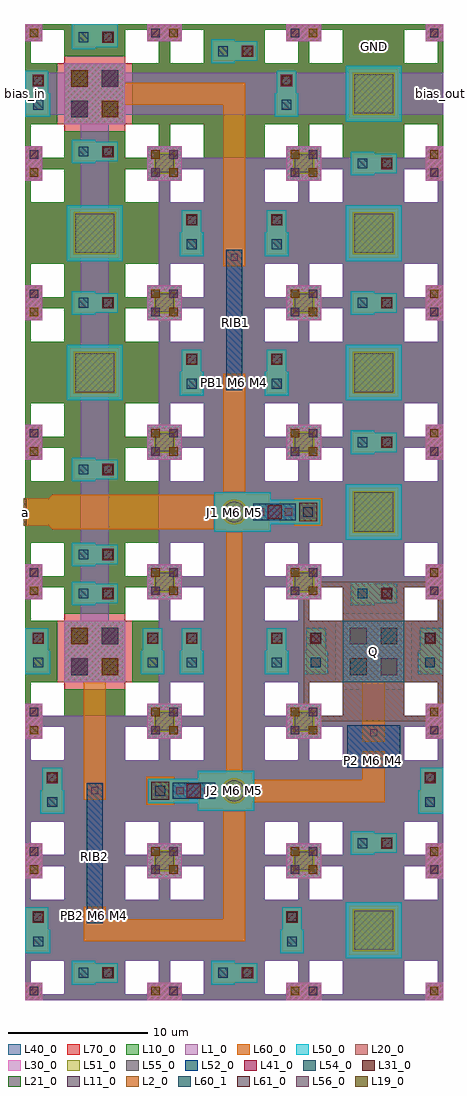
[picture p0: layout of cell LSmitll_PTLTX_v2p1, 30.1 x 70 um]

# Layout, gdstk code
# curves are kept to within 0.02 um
from math import pi, radians
import gdstk
lib = gdstk.Library(unit=1e-6, precision=1e-09)
def R(c, l, rs):  # rectangles x0, y0, x1, y1
    for r in rs: c.add(gdstk.rectangle(r[:2], r[2:], *l))
def P(c, l, *ps):  # polygons
    for p in ps: c.add(gdstk.Polygon(p, *l))
L1_0 = (1, 0)
L2_0 = (2, 0)
L10_0 = (10, 0)
L11_0 = (11, 0)
L19_0 = (19, 0)
L20_0 = (20, 0)
L21_0 = (21, 0)
L30_0 = (30, 0)
L31_0 = (31, 0)
L40_0 = (40, 0)
L41_0 = (41, 0)
L50_0 = (50, 0)
L51_0 = (51, 0)
L52_0 = (52, 0)
L54_0 = (54, 0)
L55_0 = (55, 0)
L56_0 = (56, 0)
L60_0 = (60, 0)
L60_1 = (60, 1)
L61_0 = (61, 0)
L70_0 = (70, 0)

ls_conn_m4m5m6m7 = lib.new_cell('ls_conn_M4M5M6M7')
R(ls_conn_m4m5m6m7, L40_0, [(0,0,1.4,1.4)])
R(ls_conn_m4m5m6m7, L41_0, [(0.3,0.3,1.1,1.1)])
P(ls_conn_m4m5m6m7, L50_0, [(1.6,-0.15),(1.6,0),(0,0),(0,1.4),(1.6,1.4),(1.6,1.55),(3.3,1.55),(3.3,-0.15)])
R(ls_conn_m4m5m6m7, L54_0, [(2.1,0.35,2.8,1.05)])
R(ls_conn_m4m5m6m7, L60_0, [(0,0,3.15,1.4)])
R(ls_conn_m4m5m6m7, L61_0, [(0.35,0.35,1.05,1.05)])
R(ls_conn_m4m5m6m7, L70_0, [(0,0,1.4,1.4)])

ls_fakejj_1p5x1p5um = lib.new_cell('ls_FakeJJ_1p5x1p5um')
R(ls_fakejj_1p5x1p5um, L40_0, [(-1.25,-1.25,1.25,1.25)])
R(ls_fakejj_1p5x1p5um, L50_0, [(-1.25,-1.25,1.25,1.25)])
R(ls_fakejj_1p5x1p5um, L51_0, [(-0.75,-0.75,0.75,0.75)])
R(ls_fakejj_1p5x1p5um, L55_0, [(-0.65,-0.65,0.65,0.65)])
R(ls_fakejj_1p5x1p5um, L60_0, [(-1,-1,1,1)])

ls_tr_ptlconnection = lib.new_cell('ls_tr_PTLconnection')
P(ls_tr_ptlconnection, L1_0, [(0,0),(0,10),(1.25,10),(1.25,8.75),(0.4,8.75),(0.4,1.25),(1.25,1.25),(1.25,0.4),(2.8,0.4),(2.8,2.8),(0.4,2.8),(0.4,7.2),(2.8,7.2),(2.8,9.6),(1.25,9.6),(1.25,10),(7.2,10),(7.2,0.4),(8.75,0.4),(8.75,1.25),(9.6,1.25),(9.6,2.8),(7.2,2.8),(7.2,7.2),(9.6,7.2),(9.6,8.75),(8.75,8.75),(8.75,9.6),(7.2,9.6),(7.2,10),(10,10),(10,0)])
R(ls_tr_ptlconnection, L2_0, [(9.05,0.35,9.65,0.95), (0.35,9.05,0.95,9.65)])
R(ls_tr_ptlconnection, L10_0, [(0,0,1.25,1.25), (8.75,0,10,1.25), (0,8.75,1.25,10), (8.75,8.75,10,10)])
P(ls_tr_ptlconnection, L10_0, [(0,0),(0,10),(1.25,10),(1.25,8.75),(0.4,8.75),(0.4,1.25),(1.25,1.25),(1.25,0.4),(2.8,0.4),(2.8,2.8),(0.4,2.8),(0.4,7.2),(2.8,7.2),(2.8,9.6),(1.25,9.6),(1.25,10),(7.2,10),(7.2,0.4),(8.75,0.4),(8.75,1.25),(9.6,1.25),(9.6,2.8),(7.2,2.8),(7.2,7.2),(9.6,7.2),(9.6,8.75),(8.75,8.75),(8.75,9.6),(7.2,9.6),(7.2,10),(10,10),(10,0)])
R(ls_tr_ptlconnection, L11_0, [(0.35,0.35,0.95,0.95), (9.05,9.05,9.65,9.65)])
P(ls_tr_ptlconnection, L20_0, [(0,0),(0,10),(1.25,10),(1.25,8.75),(0.4,8.75),(0.4,1.25),(1.25,1.25),(1.25,0.4),(2.8,0.4),(2.8,2.8),(0.4,2.8),(0.4,7.2),(2.8,7.2),(2.8,9.6),(1.25,9.6),(1.25,10),(7.2,10),(7.2,0.4),(8.75,0.4),(8.75,1.25),(9.6,1.25),(9.6,2.8),(7.2,2.8),(7.2,7.2),(9.6,7.2),(9.6,8.75),(8.75,8.75),(8.75,9.6),(7.2,9.6),(7.2,10),(10,10),(10,0)])
R(ls_tr_ptlconnection, L21_0, [(9.05,0.35,9.65,0.95), (0.35,9.05,0.95,9.65)])
R(ls_tr_ptlconnection, L30_0, [(0,0,1.25,1.25), (8.75,0,10,1.25), (2.8,2.8,7.2,7.2), (0,8.75,1.25,10), (8.75,8.75,10,10)])
R(ls_tr_ptlconnection, L31_0, [(0.35,0.35,0.95,0.95), (3.3,3.3,4.5,4.5), (5.5,5.5,6.7,6.7), (9.05,9.05,9.65,9.65)])
R(ls_tr_ptlconnection, L40_0, [(2.8,2.8,7.2,7.2)])
P(ls_tr_ptlconnection, L40_0, [(0,0),(0,10),(7.2,10),(7.2,7.7),(2.8,7.7),(2.8,9.6),(1.25,9.6),(1.25,8.75),(0.4,8.75),(0.4,7.2),(2.3,7.2),(2.3,2.8),(0.4,2.8),(0.4,1.25),(1.25,1.25),(1.25,0.4),(2.8,0.4),(2.8,2.3),(7.2,2.3),(7.2,0.4),(8.75,0.4),(8.75,1.25),(9.6,1.25),(9.6,2.8),(7.7,2.8),(7.7,7.2),(9.6,7.2),(9.6,8.75),(8.75,8.75),(8.75,9.6),(7.2,9.6),(7.2,10),(10,10),(10,0)])
R(ls_tr_ptlconnection, L41_0, [(5.5,3.3,6.7,4.5), (3.3,5.5,4.5,6.7)])
R(ls_tr_ptlconnection, L50_0, [(2.8,2.8,7.2,7.2)])
R(ls_tr_ptlconnection, L54_0, [(3.3,3.3,4.5,4.5), (5.5,5.5,6.7,6.7)])
R(ls_tr_ptlconnection, L60_0, [(2.8,2.8,7.2,7.2)])
P(ls_tr_ptlconnection, L70_0, [(0,0),(0,10),(1.25,10),(1.25,8.75),(0.4,8.75),(0.4,1.25),(1.25,1.25),(1.25,0.4),(2.8,0.4),(2.8,2.8),(0.4,2.8),(0.4,7.2),(2.8,7.2),(2.8,9.6),(1.25,9.6),(1.25,10),(7.2,10),(7.2,0.4),(8.75,0.4),(8.75,1.25),(9.6,1.25),(9.6,2.8),(7.2,2.8),(7.2,7.2),(9.6,7.2),(9.6,8.75),(8.75,8.75),(8.75,9.6),(7.2,9.6),(7.2,10),(10,10),(10,0)])

ls_res_1p36 = lib.new_cell('ls_res_1p36')
R(ls_res_1p36, L52_0, [(-1.9,0,1.9,3.05)])
R(ls_res_1p36, L56_0, [(-0.26,0.29,0.26,0.81), (-0.26,2.25,0.26,2.77)])
R(ls_res_1p36, L60_0, [(-0.625,-0.1,0.625,1.175), (-0.625,1.875,0.625,3.15)])

ls_tr_bias_pillar_m0m6 = lib.new_cell('ls_tr_bias_pillar_M0M6')
R(ls_tr_bias_pillar_m0m6, L1_0, [(0,0,1.25,1.25), (8.75,0,10,1.25), (2.8,2.8,7.2,7.2), (0,8.75,1.25,10), (8.75,8.75,10,10)])
R(ls_tr_bias_pillar_m0m6, L2_0, [(9.05,0.35,9.65,0.95), (5.5,3.3,6.7,4.5), (3.3,5.5,4.5,6.7), (0.35,9.05,0.95,9.65)])
R(ls_tr_bias_pillar_m0m6, L10_0, [(0,0,1.25,1.25), (8.75,0,10,1.25), (2.8,2.8,7.2,7.2), (0,8.75,1.25,10), (8.75,8.75,10,10)])
P(ls_tr_bias_pillar_m0m6, L10_0, [(0,0),(0,10),(7.2,10),(7.2,7.7),(2.8,7.7),(2.8,9.6),(1.25,9.6),(1.25,8.75),(0.4,8.75),(0.4,7.2),(2.3,7.2),(2.3,2.8),(0.4,2.8),(0.4,1.25),(1.25,1.25),(1.25,0.4),(2.8,0.4),(2.8,2.3),(7.2,2.3),(7.2,0.4),(8.75,0.4),(8.75,1.25),(9.6,1.25),(9.6,2.8),(7.7,2.8),(7.7,7.2),(9.6,7.2),(9.6,8.75),(8.75,8.75),(8.75,9.6),(7.2,9.6),(7.2,10),(10,10),(10,0)])
R(ls_tr_bias_pillar_m0m6, L11_0, [(0.35,0.35,0.95,0.95), (3.3,3.3,4.5,4.5), (5.5,5.5,6.7,6.7), (9.05,9.05,9.65,9.65)])
R(ls_tr_bias_pillar_m0m6, L20_0, [(0,0,1.25,1.25), (8.75,0,10,1.25), (2.8,2.8,7.2,7.2), (0,8.75,1.25,10), (8.75,8.75,10,10)])
R(ls_tr_bias_pillar_m0m6, L21_0, [(9.05,0.35,9.65,0.95), (5.5,3.3,6.7,4.5), (3.3,5.5,4.5,6.7), (0.35,9.05,0.95,9.65)])
R(ls_tr_bias_pillar_m0m6, L30_0, [(0,0,1.25,1.25), (8.75,0,10,1.25), (2.8,2.8,7.2,7.2), (0,8.75,1.25,10), (8.75,8.75,10,10)])
R(ls_tr_bias_pillar_m0m6, L31_0, [(0.35,0.35,0.95,0.95), (3.3,3.3,4.5,4.5), (5.5,5.5,6.7,6.7), (9.05,9.05,9.65,9.65)])
R(ls_tr_bias_pillar_m0m6, L40_0, [(2.8,2.8,7.2,7.2)])
P(ls_tr_bias_pillar_m0m6, L40_0, [(0,0),(0,10),(7.2,10),(7.2,7.7),(2.8,7.7),(2.8,9.6),(1.25,9.6),(1.25,8.75),(0.4,8.75),(0.4,7.2),(2.3,7.2),(2.3,2.8),(0.4,2.8),(0.4,1.25),(1.25,1.25),(1.25,0.4),(2.8,0.4),(2.8,2.3),(7.2,2.3),(7.2,0.4),(8.75,0.4),(8.75,1.25),(9.6,1.25),(9.6,2.8),(7.7,2.8),(7.7,7.2),(9.6,7.2),(9.6,8.75),(8.75,8.75),(8.75,9.6),(7.2,9.6),(7.2,10),(10,10),(10,0)])
R(ls_tr_bias_pillar_m0m6, L41_0, [(5.5,3.3,6.7,4.5), (3.3,5.5,4.5,6.7)])
R(ls_tr_bias_pillar_m0m6, L50_0, [(2.8,2.8,7.2,7.2)])
R(ls_tr_bias_pillar_m0m6, L54_0, [(3.3,3.3,4.5,4.5), (5.5,5.5,6.7,6.7)])
R(ls_tr_bias_pillar_m0m6, L60_0, [(2.8,2.8,7.2,7.2)])
P(ls_tr_bias_pillar_m0m6, L70_0, [(0,0),(0,10),(1.25,10),(1.25,8.75),(0.4,8.75),(0.4,1.25),(1.25,1.25),(1.25,0.4),(2.8,0.4),(2.8,2.8),(0.4,2.8),(0.4,7.2),(2.8,7.2),(2.8,9.6),(1.25,9.6),(1.25,10),(7.2,10),(7.2,0.4),(8.75,0.4),(8.75,1.25),(9.6,1.25),(9.6,2.8),(7.2,2.8),(7.2,7.2),(9.6,7.2),(9.6,8.75),(8.75,8.75),(8.75,9.6),(7.2,9.6),(7.2,10),(10,10),(10,0)])

ls_conn_m5m6m7 = lib.new_cell('ls_conn_M5M6M7')
R(ls_conn_m5m6m7, L50_0, [(-0.5,-0.5,1.2,1.2)])
R(ls_conn_m5m6m7, L54_0, [(0,0,0.7,0.7)])
R(ls_conn_m5m6m7, L60_0, [(-0.65,-0.65,1.35,1.35)])
R(ls_conn_m5m6m7, L61_0, [(-0.3,-0.3,1,1)])
R(ls_conn_m5m6m7, L70_0, [(-0.65,-0.65,1.35,1.35)])

ls_jj_250_sg = lib.new_cell('ls_jj_250_sg')
R(ls_jj_250_sg, L41_0, [(-0.5,2.4,0.5,3.4)])
R(ls_jj_250_sg, L50_0, [(-1.425,-1.425,1.425,2.625), (-0.875,2.625,0.875,6.175)])
P(ls_jj_250_sg, L51_0, [(0,-0.91),(-0.18,-0.895),(-0.35,-0.84),(-0.645,-0.645),(-0.84,-0.35),(-0.91,0),(-0.895,0.18),(-0.84,0.35),(-0.645,0.645),(-0.35,0.84),(-0.18,0.895),(0,0.91),(0.18,0.895),(0.35,0.84),(0.645,0.645),(0.84,0.35),(0.895,0.18),(0.91,0),(0.84,-0.35),(0.645,-0.645),(0.35,-0.84),(0.18,-0.895)])
R(ls_jj_250_sg, L52_0, [(-0.575,1.35,0.575,4.425)])
R(ls_jj_250_sg, L54_0, [(-0.35,4.95,0.35,5.65)])
P(ls_jj_250_sg, L55_0, [(0,-0.76),(-0.15,-0.75),(-0.29,-0.7),(-0.54,-0.54),(-0.7,-0.29),(-0.75,-0.15),(-0.76,0),(-0.75,0.15),(-0.7,0.29),(-0.54,0.54),(-0.29,0.7),(-0.15,0.75),(0,0.76),(0.15,0.75),(0.29,0.7),(0.54,0.54),(0.7,0.29),(0.75,0.15),(0.76,0),(0.75,-0.15),(0.7,-0.29),(0.54,-0.54),(0.29,-0.7),(0.15,-0.75)])
R(ls_jj_250_sg, L56_0, [(-0.26,1.64,0.26,2.16), (-0.26,3.63,0.26,4.15)])
R(ls_jj_250_sg, L60_0, [(-1.275,-1.275,1.275,2.525), (-0.725,3.25,0.725,6.025)])
ls_jj_250_sg.add(gdstk.Reference(ls_conn_m5m6m7, (-0.35,4.95)))

ls_tr_m7 = lib.new_cell('ls_tr_M7')
P(ls_tr_m7, L70_0, [(0,0),(0,10),(1.25,10),(1.25,8.75),(0.4,8.75),(0.4,1.25),(1.25,1.25),(1.25,0.4),(2.8,0.4),(2.8,2.8),(0.4,2.8),(0.4,7.2),(2.8,7.2),(2.8,9.6),(1.25,9.6),(1.25,10),(7.2,10),(7.2,0.4),(8.75,0.4),(8.75,1.25),(9.6,1.25),(9.6,2.8),(7.2,2.8),(7.2,7.2),(9.6,7.2),(9.6,8.75),(8.75,8.75),(8.75,9.6),(7.2,9.6),(7.2,10),(10,10),(10,0)])

ls_tr_u_m4_alt = lib.new_cell('ls_tr_u_M4_alt')
R(ls_tr_u_m4_alt, L1_0, [(0,0,1.25,1.25), (8.75,0,10,1.25), (0,8.75,1.25,10), (8.75,8.75,10,10)])
R(ls_tr_u_m4_alt, L2_0, [(9.05,0.35,9.65,0.95), (0.35,9.05,0.95,9.65)])
R(ls_tr_u_m4_alt, L10_0, [(0,0,1.25,1.25), (1.25,0,8.75,0.4), (8.75,0,10,1.25), (2.8,0.4,7.2,9.6), (0,1.25,0.4,8.75), (9.6,1.25,10,8.75), (0.4,2.8,2.8,7.2), (7.2,2.8,9.6,7.2), (0,8.75,1.25,10), (8.75,8.75,10,10), (1.25,9.6,8.75,10)])
R(ls_tr_u_m4_alt, L11_0, [(0.35,0.35,0.95,0.95), (9.05,9.05,9.65,9.65)])
R(ls_tr_u_m4_alt, L20_0, [(0,0,1.25,1.25), (8.75,0,10,1.25), (0,8.75,1.25,10), (8.75,8.75,10,10)])
R(ls_tr_u_m4_alt, L21_0, [(9.05,0.35,9.65,0.95), (0.35,9.05,0.95,9.65)])
R(ls_tr_u_m4_alt, L30_0, [(0,0,1.25,1.25), (8.75,0,10,1.25), (0,8.75,1.25,10), (8.75,8.75,10,10)])
R(ls_tr_u_m4_alt, L31_0, [(0.35,0.35,0.95,0.95), (9.05,9.05,9.65,9.65)])
P(ls_tr_u_m4_alt, L40_0, [(0,0),(0,10),(1.25,10),(1.25,8.75),(0.4,8.75),(0.4,1.25),(1.25,1.25),(1.25,0.4),(2.8,0.4),(2.8,2.8),(0.4,2.8),(0.4,7.2),(2.8,7.2),(2.8,9.6),(1.25,9.6),(1.25,10),(7.2,10),(7.2,0.4),(8.75,0.4),(8.75,1.25),(9.6,1.25),(9.6,2.8),(7.2,2.8),(7.2,7.2),(9.6,7.2),(9.6,8.75),(8.75,8.75),(8.75,9.6),(7.2,9.6),(7.2,10),(10,10),(10,0)])
ls_tr_u_m4_alt.add(gdstk.Reference(ls_tr_m7, (0,0)))

ls_ib_175 = lib.new_cell('ls_ib_175')
R(ls_ib_175, L52_0, [(-0.575,0,0.575,10.05)])
R(ls_ib_175, L56_0, [(-0.26,0.29,0.26,0.81), (-0.26,9.26,0.26,9.78)])
R(ls_ib_175, L60_0, [(-0.625,-0.1,0.625,1.175), (-0.625,8.875,0.625,10.15)])

ls_fakejj_3umx3um = lib.new_cell('ls_FakeJJ_3umx3um')
R(ls_fakejj_3umx3um, L40_0, [(-2,-2,2,2)])
R(ls_fakejj_3umx3um, L50_0, [(-2,-2,2,2)])
R(ls_fakejj_3umx3um, L51_0, [(-1.5,-1.5,1.5,1.5)])
R(ls_fakejj_3umx3um, L55_0, [(-1.4,-1.4,1.4,1.4)])
R(ls_fakejj_3umx3um, L60_0, [(-1.75,-1.75,1.75,1.75)])

ls_tr_m0 = lib.new_cell('ls_tr_M0')
P(ls_tr_m0, L1_0, [(0,0),(0,10),(1.25,10),(1.25,8.75),(0.4,8.75),(0.4,1.25),(1.25,1.25),(1.25,0.4),(2.8,0.4),(2.8,2.8),(0.4,2.8),(0.4,7.2),(2.8,7.2),(2.8,9.6),(1.25,9.6),(1.25,10),(7.2,10),(7.2,0.4),(8.75,0.4),(8.75,1.25),(9.6,1.25),(9.6,2.8),(7.2,2.8),(7.2,7.2),(9.6,7.2),(9.6,8.75),(8.75,8.75),(8.75,9.6),(7.2,9.6),(7.2,10),(10,10),(10,0)])

lsmitll_ptltx_v2p1 = lib.new_cell('LSmitll_PTLTX_v2p1')
R(lsmitll_ptltx_v2p1, L1_0, [(1.25,20,8.75,20.4), (9.6,21.25,10,58.75), (11.25,60,28.75,60.4)])
R(lsmitll_ptltx_v2p1, L19_0, [(4.74,5.79,5.26,6.31), (24.74,16.94,25.26,17.46), (14.74,44.04,15.26,44.56)])
R(lsmitll_ptltx_v2p1, L50_0, [(0,3.35,0.25,6.65), (29.75,13.35,30,16.65), (0,23.35,0.25,26.65), (29.75,23.35,30,26.65), (0,63.35,0.25,66.65), (3.35,69.75,6.65,70)])
R(lsmitll_ptltx_v2p1, L60_0, [(0,3.5,0.25,6.65), (29.75,13.5,30,16.65), (0,23.5,0.25,26.65), (0,63.5,0.25,66.65), (3.5,69.75,6.65,70)])
P(lsmitll_ptltx_v2p1, L60_0, [(2,33.75),(1.75,34),(1.75,36),(2,36.25)])
R(lsmitll_ptltx_v2p1, L60_1, [(22.8,22.8,27.2,27.2)])
lsmitll_ptltx_v2p1.add(gdstk.FlexPath([(15,52.625),(15,65),(5,65)], 1.6, ends="flush", simple_path=True, layer=60, datatype=0))  # L60_0
lsmitll_ptltx_v2p1.add(gdstk.FlexPath([(15,36.275),(15,44.925)], 1.6, ends="flush", simple_path=True, layer=60, datatype=0))  # L60_0
lsmitll_ptltx_v2p1.add(gdstk.FlexPath([(15,16.275),(15,33.725)], 1.15, ends="flush", simple_path=True, layer=60, datatype=0))  # L60_0
lsmitll_ptltx_v2p1.add(gdstk.FlexPath([(25,18.525),(25,25)], 1.6, ends="flush", simple_path=True, layer=60, datatype=0))  # L60_0
lsmitll_ptltx_v2p1.add(gdstk.FlexPath([(16.275,15),(25,15),(25,17.825)], 1.6, ends="flush", simple_path=True, layer=60, datatype=0))  # L60_0
lsmitll_ptltx_v2p1.add(gdstk.FlexPath([(5,14.375),(5,25)], 1.6, ends="flush", simple_path=True, layer=60, datatype=0))  # L60_0
lsmitll_ptltx_v2p1.add(gdstk.FlexPath([(15,13.725),(15,5),(5,5),(5,6.675)], 1.6, ends="flush", simple_path=True, layer=60, datatype=0))  # L60_0
lsmitll_ptltx_v2p1.add(gdstk.FlexPath([(0,35),(2,35)], 2, ends="flush", simple_path=True, layer=60, datatype=0))  # L60_0
lsmitll_ptltx_v2p1.add(gdstk.FlexPath([(2,35),(13.725,35)], 2.5, ends="flush", simple_path=True, layer=60, datatype=0))  # L60_0
lsmitll_ptltx_v2p1.add(gdstk.FlexPath([(5,65),(5,25)], 2, ends="flush", simple_path=True, layer=1, datatype=0))  # L1_0
lsmitll_ptltx_v2p1.add(gdstk.FlexPath([(0,65),(30,65)], 3, ends="flush", simple_path=True, layer=1, datatype=0))  # L1_0
lsmitll_ptltx_v2p1.add(gdstk.FlexPath([(0,34),(0,36)], 0.2, ends="flush", simple_path=True, layer=19, datatype=0))  # L19_0
lsmitll_ptltx_v2p1.add(gdstk.Reference(ls_conn_m4m5m6m7, (6.65,49.3), rotation=pi, x_reflection=True))
lsmitll_ptltx_v2p1.add(gdstk.Reference(ls_conn_m4m5m6m7, (26.65,59.3), rotation=pi, x_reflection=True))
lsmitll_ptltx_v2p1.add(gdstk.Reference(ls_conn_m4m5m6m7, (26.65,49.3), rotation=pi, x_reflection=True))
lsmitll_ptltx_v2p1.add(gdstk.Reference(ls_conn_m4m5m6m7, (26.65,39.3), rotation=pi, x_reflection=True))
lsmitll_ptltx_v2p1.add(gdstk.Reference(ls_conn_m4m5m6m7, (6.65,37.35), rotation=pi, x_reflection=True))
lsmitll_ptltx_v2p1.add(gdstk.Reference(ls_fakejj_1p5x1p5um, (20,60)))
lsmitll_ptltx_v2p1.add(gdstk.Reference(ls_fakejj_1p5x1p5um, (10,60)))
lsmitll_ptltx_v2p1.add(gdstk.Reference(ls_fakejj_1p5x1p5um, (10,50)))
lsmitll_ptltx_v2p1.add(gdstk.Reference(ls_fakejj_1p5x1p5um, (20,50)))
lsmitll_ptltx_v2p1.add(gdstk.Reference(ls_fakejj_1p5x1p5um, (20,40)))
lsmitll_ptltx_v2p1.add(gdstk.Reference(ls_fakejj_1p5x1p5um, (10,40)))
lsmitll_ptltx_v2p1.add(gdstk.Reference(ls_fakejj_1p5x1p5um, (10,30)))
lsmitll_ptltx_v2p1.add(gdstk.Reference(ls_fakejj_1p5x1p5um, (20,30)))
lsmitll_ptltx_v2p1.add(gdstk.Reference(ls_fakejj_1p5x1p5um, (20,20)))
lsmitll_ptltx_v2p1.add(gdstk.Reference(ls_fakejj_1p5x1p5um, (20,10)))
lsmitll_ptltx_v2p1.add(gdstk.Reference(ls_fakejj_1p5x1p5um, (10,10)))
lsmitll_ptltx_v2p1.add(gdstk.Reference(ls_fakejj_1p5x1p5um, (10,20)))
lsmitll_ptltx_v2p1.add(gdstk.Reference(ls_tr_ptlconnection, (20,20)))
lsmitll_ptltx_v2p1.add(gdstk.Reference(ls_res_1p36, (25,16.65)))
lsmitll_ptltx_v2p1.add(gdstk.Reference(ls_tr_bias_pillar_m0m6, (0,60)))
lsmitll_ptltx_v2p1.add(gdstk.Reference(ls_tr_bias_pillar_m0m6, (0,20)))
lsmitll_ptltx_v2p1.add(gdstk.Reference(ls_jj_250_sg, (15,35), rotation=3*pi/2))
lsmitll_ptltx_v2p1.add(gdstk.Reference(ls_tr_u_m4_alt, (0,50)))
lsmitll_ptltx_v2p1.add(gdstk.Reference(ls_tr_u_m4_alt, (0,40)))
lsmitll_ptltx_v2p1.add(gdstk.Reference(ls_tr_u_m4_alt, (0,30)))
lsmitll_ptltx_v2p1.add(gdstk.Reference(ls_tr_u_m4_alt, (0,10)))
lsmitll_ptltx_v2p1.add(gdstk.Reference(ls_tr_u_m4_alt, (0,0)))
lsmitll_ptltx_v2p1.add(gdstk.Reference(ls_tr_u_m4_alt, (10,0)))
lsmitll_ptltx_v2p1.add(gdstk.Reference(ls_tr_u_m4_alt, (10,10)))
lsmitll_ptltx_v2p1.add(gdstk.Reference(ls_tr_u_m4_alt, (10,20)))
lsmitll_ptltx_v2p1.add(gdstk.Reference(ls_tr_u_m4_alt, (10,30)))
lsmitll_ptltx_v2p1.add(gdstk.Reference(ls_tr_u_m4_alt, (10,40)))
lsmitll_ptltx_v2p1.add(gdstk.Reference(ls_tr_u_m4_alt, (10,50)))
lsmitll_ptltx_v2p1.add(gdstk.Reference(ls_tr_u_m4_alt, (10,60)))
lsmitll_ptltx_v2p1.add(gdstk.Reference(ls_tr_u_m4_alt, (20,60)))
lsmitll_ptltx_v2p1.add(gdstk.Reference(ls_tr_u_m4_alt, (20,50)))
lsmitll_ptltx_v2p1.add(gdstk.Reference(ls_tr_u_m4_alt, (20,40)))
lsmitll_ptltx_v2p1.add(gdstk.Reference(ls_tr_u_m4_alt, (20,30)))
lsmitll_ptltx_v2p1.add(gdstk.Reference(ls_tr_u_m4_alt, (20,10)))
lsmitll_ptltx_v2p1.add(gdstk.Reference(ls_tr_u_m4_alt, (20,0)))
lsmitll_ptltx_v2p1.add(gdstk.Reference(ls_ib_175, (15,43.75)))
lsmitll_ptltx_v2p1.add(gdstk.Reference(ls_jj_250_sg, (15,15), rotation=pi/2))
lsmitll_ptltx_v2p1.add(gdstk.Reference(ls_ib_175, (5,5.5)))
lsmitll_ptltx_v2p1.add(gdstk.Reference(ls_conn_m4m5m6m7, (6.65,31.25), rotation=pi, x_reflection=True))
lsmitll_ptltx_v2p1.add(gdstk.Reference(ls_conn_m4m5m6m7, (6.65,28.45), rotation=pi, x_reflection=True))
lsmitll_ptltx_v2p1.add(gdstk.Reference(ls_conn_m4m5m6m7, (6.65,60.15), rotation=pi, x_reflection=True))
lsmitll_ptltx_v2p1.add(gdstk.Reference(ls_conn_m4m5m6m7, (6.65,68.35), rotation=pi, x_reflection=True))
lsmitll_ptltx_v2p1.add(gdstk.Reference(ls_conn_m4m5m6m7, (16.65,67.35), rotation=pi, x_reflection=True))
lsmitll_ptltx_v2p1.add(gdstk.Reference(ls_conn_m4m5m6m7, (16.65,1.25), rotation=pi, x_reflection=True))
lsmitll_ptltx_v2p1.add(gdstk.Reference(ls_conn_m4m5m6m7, (6.65,1.25), rotation=pi, x_reflection=True))
lsmitll_ptltx_v2p1.add(gdstk.Reference(ls_conn_m4m5m6m7, (26.65,10.55), rotation=pi, x_reflection=True))
lsmitll_ptltx_v2p1.add(gdstk.Reference(ls_conn_m4m5m6m7, (26.65,28.45), rotation=pi, x_reflection=True))
lsmitll_ptltx_v2p1.add(gdstk.Reference(ls_conn_m4m5m6m7, (12.65,26.65), rotation=3*pi/2, x_reflection=True))
lsmitll_ptltx_v2p1.add(gdstk.Reference(ls_conn_m4m5m6m7, (9.85,26.65), rotation=3*pi/2, x_reflection=True))
lsmitll_ptltx_v2p1.add(gdstk.Reference(ls_conn_m4m5m6m7, (1.65,26.65), rotation=3*pi/2, x_reflection=True))
lsmitll_ptltx_v2p1.add(gdstk.Reference(ls_conn_m4m5m6m7, (1.65,6.65), rotation=3*pi/2, x_reflection=True))
lsmitll_ptltx_v2p1.add(gdstk.Reference(ls_conn_m4m5m6m7, (2.65,16.65), rotation=3*pi/2, x_reflection=True))
lsmitll_ptltx_v2p1.add(gdstk.Reference(ls_conn_m4m5m6m7, (29.75,16.65), rotation=3*pi/2, x_reflection=True))
lsmitll_ptltx_v2p1.add(gdstk.Reference(ls_conn_m4m5m6m7, (29.75,26.65), rotation=3*pi/2, x_reflection=True))
lsmitll_ptltx_v2p1.add(gdstk.Reference(ls_conn_m4m5m6m7, (21.55,26.65), rotation=3*pi/2, x_reflection=True))
lsmitll_ptltx_v2p1.add(gdstk.Reference(ls_conn_m4m5m6m7, (18.75,26.65), rotation=3*pi/2, x_reflection=True))
lsmitll_ptltx_v2p1.add(gdstk.Reference(ls_conn_m4m5m6m7, (19.85,6.65), rotation=3*pi/2, x_reflection=True))
lsmitll_ptltx_v2p1.add(gdstk.Reference(ls_conn_m4m5m6m7, (18.75,46.65), rotation=3*pi/2, x_reflection=True))
lsmitll_ptltx_v2p1.add(gdstk.Reference(ls_conn_m4m5m6m7, (12.65,46.65), rotation=3*pi/2, x_reflection=True))
lsmitll_ptltx_v2p1.add(gdstk.Reference(ls_conn_m4m5m6m7, (12.65,56.65), rotation=3*pi/2, x_reflection=True))
lsmitll_ptltx_v2p1.add(gdstk.Reference(ls_conn_m4m5m6m7, (18.75,56.65), rotation=3*pi/2, x_reflection=True))
lsmitll_ptltx_v2p1.add(gdstk.Reference(ls_conn_m4m5m6m7, (19.45,66.65), rotation=3*pi/2, x_reflection=True))
lsmitll_ptltx_v2p1.add(gdstk.Reference(ls_conn_m4m5m6m7, (1.65,66.65), rotation=3*pi/2, x_reflection=True))
lsmitll_ptltx_v2p1.add(gdstk.Reference(ls_fakejj_3umx3um, (5,45)))
lsmitll_ptltx_v2p1.add(gdstk.Reference(ls_fakejj_3umx3um, (5,55)))
lsmitll_ptltx_v2p1.add(gdstk.Reference(ls_fakejj_3umx3um, (25,55)))
lsmitll_ptltx_v2p1.add(gdstk.Reference(ls_fakejj_3umx3um, (25,65)))
lsmitll_ptltx_v2p1.add(gdstk.Reference(ls_fakejj_3umx3um, (25,45)))
lsmitll_ptltx_v2p1.add(gdstk.Reference(ls_fakejj_3umx3um, (25,35)))
lsmitll_ptltx_v2p1.add(gdstk.Reference(ls_fakejj_3umx3um, (25,5)))
lsmitll_ptltx_v2p1.add(gdstk.Reference(ls_tr_m0, (0,0)))
lsmitll_ptltx_v2p1.add(gdstk.Reference(ls_tr_m0, (0,10)))
lsmitll_ptltx_v2p1.add(gdstk.Reference(ls_tr_m0, (10,10)))
lsmitll_ptltx_v2p1.add(gdstk.Reference(ls_tr_m0, (10,0)))
lsmitll_ptltx_v2p1.add(gdstk.Reference(ls_tr_m0, (20,0)))
lsmitll_ptltx_v2p1.add(gdstk.Reference(ls_tr_m0, (20,10)))
lsmitll_ptltx_v2p1.add(gdstk.Reference(ls_tr_m0, (10,20)))
lsmitll_ptltx_v2p1.add(gdstk.Reference(ls_tr_m0, (10,30)))
lsmitll_ptltx_v2p1.add(gdstk.Reference(ls_tr_m0, (20,30)))
lsmitll_ptltx_v2p1.add(gdstk.Reference(ls_tr_m0, (20,40)))
lsmitll_ptltx_v2p1.add(gdstk.Reference(ls_tr_m0, (10,40)))
lsmitll_ptltx_v2p1.add(gdstk.Reference(ls_tr_m0, (10,50)))
lsmitll_ptltx_v2p1.add(gdstk.Reference(ls_tr_m0, (20,50)))
lsmitll_ptltx_v2p1.add(gdstk.Label('bias_in', (0,65), layer=182, texttype=0))
lsmitll_ptltx_v2p1.add(gdstk.Label('bias_out', (30,65), layer=182, texttype=0))
lsmitll_ptltx_v2p1.add(gdstk.Label('a', (0,35), layer=182, texttype=0))
lsmitll_ptltx_v2p1.add(gdstk.Label('P1 M6 M4', (0,35), layer=182, texttype=0))
lsmitll_ptltx_v2p1.add(gdstk.Label('J1 M6 M5', (15,35), layer=182, texttype=0))
lsmitll_ptltx_v2p1.add(gdstk.Label('PB1 M6 M4', (15,44.3), layer=182, texttype=0))
lsmitll_ptltx_v2p1.add(gdstk.Label('J2 M6 M5', (15,15), layer=182, texttype=0))
lsmitll_ptltx_v2p1.add(gdstk.Label('PB2 M6 M4', (5,6.05), layer=182, texttype=0))
lsmitll_ptltx_v2p1.add(gdstk.Label('P2 M6 M4', (25,17.2), layer=182, texttype=0))
lsmitll_ptltx_v2p1.add(gdstk.Label('Q', (25,25), layer=182, texttype=0))
lsmitll_ptltx_v2p1.add(gdstk.Label('a', (0.06,34.07), layer=60, texttype=1))
lsmitll_ptltx_v2p1.add(gdstk.Label('q', (25.01,25.01), layer=60, texttype=1))
lsmitll_ptltx_v2p1.add(gdstk.Label('RIB1', (15.09,48.58), layer=52, texttype=1))
lsmitll_ptltx_v2p1.add(gdstk.Label('RIB2', (4.99,10.31), layer=52, texttype=1))
lsmitll_ptltx_v2p1.add(gdstk.Label('RD', (24.97,18.13), layer=52, texttype=1))
lsmitll_ptltx_v2p1.add(gdstk.Label('RB1', (17.91,35.03), layer=52, texttype=1))
lsmitll_ptltx_v2p1.add(gdstk.Label('RB2', (12.09,15.08), layer=52, texttype=1))
lsmitll_ptltx_v2p1.add(gdstk.Label('VDD', (28.36,65.93), layer=1, texttype=1))
lsmitll_ptltx_v2p1.add(gdstk.Label('GND', (25.07,68.4), layer=40, texttype=1))

lib.write_gds('LSmitll_PTLTX_v2p1.gds')
